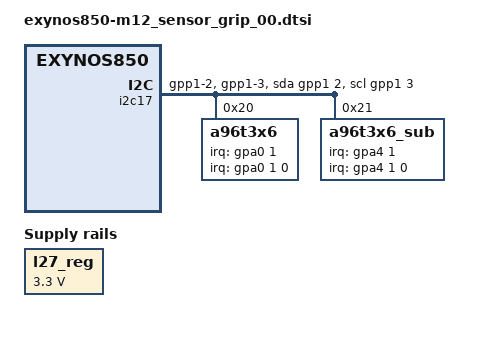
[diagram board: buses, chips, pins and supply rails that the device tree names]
/*
 * SAMSUNG EXYNOS850 board device tree source
 *
 * Copyright (c) 2019 Samsung Electronics Co., Ltd.
 *		http://www.samsung.com
 *
 * This program is free software; you can redistribute it and/or modify
 * it under the terms of the GNU General Public License version 2 as
 * published by the Free Software Foundation.
 */

&l27_reg {
	regulator-name = "VDD_GRIP_3P3";
	regulator-min-microvolt = <3300000>;
	regulator-max-microvolt = <3300000>;
};

/ {
	fragment@common {
		target-path = "/";
		__overlay__ {
			aliases {
				i2c17 = "/i2c@17";
			};

			i2c17: i2c@17 {
				cell-index = <17>;
				status = "okay";
				compatible = "i2c-gpio";
				gpios = <&gpp1 2 0 /* sda */
					&gpp1 3 0>; /* scl */
				i2c-gpio,delay-us = <2>;
				#address-cells = <1>;
				#size-cells = <0>;
				pinctrl-names = "default";
				pinctrl-0 = <&grip_i2c>;

				a96t3x6@20 {
					compatible = "a96t3x6";
					pinctrl-names = "default";
					pinctrl-0 = <&grip_int>;
					reg = <0x20>;
					status = "okay";
					interrupt-parent = <&gpa0>;
					interrupts = <1 0 0>;

					a96t3x6,irq_gpio = <&gpa0 1 0x00>;
					a96t3x6,dvdd_vreg_name = "VDD_GRIP_3P3";
					a96t3x6,fw_path = "abov/a96t356_m12s.bin";
					a96t3x6,firmup_cmd = <0x3b>;
				};

				a96t3x6_sub@21 {
					compatible = "a96t3x6_sub";
					pinctrl-names = "default";
					pinctrl-0 = <&grip_sub_int>;
					reg = <0x21>;
					status = "okay";
					interrupt-parent = <&gpa4>;
					interrupts = <1 0 0>;

					a96t3x6,irq_gpio = <&gpa4 1 0x00>;
					a96t3x6,dvdd_vreg_name = "VDD_GRIP_3P3";
					a96t3x6,fw_path = "abov/a96t356_m12s_sub.bin";
					a96t3x6,firmup_cmd = <0x3b>;
				};
			};
		}; /* end of __overlay__ */
	}; /* end of fragment */
}; /* end of root */

&pinctrl_5 {
	grip_i2c: grip-i2c {
		samsung,pins = "gpp1-2", "gpp1-3";
		samsung,pin-function = <0>;
		samsung,pin-pud = <0>;
		samsung,pin-drv = <0>;
		samsung,pin-con-pdn = <3>;
		samsung,pin-pud-pdn = <0>;
	};
};

&pinctrl_0 {
	grip_int: grip-int {
		samsung,pins = "gpa0-1";
		samsung,pin-function = <0xf>;
		samsung,pin-pud = <0>;
	};

	grip_sub_int: grip-sub-int {
		samsung,pins = "gpa4-1";
		samsung,pin-function = <0xf>;
		samsung,pin-pud = <0>;
	};
};
